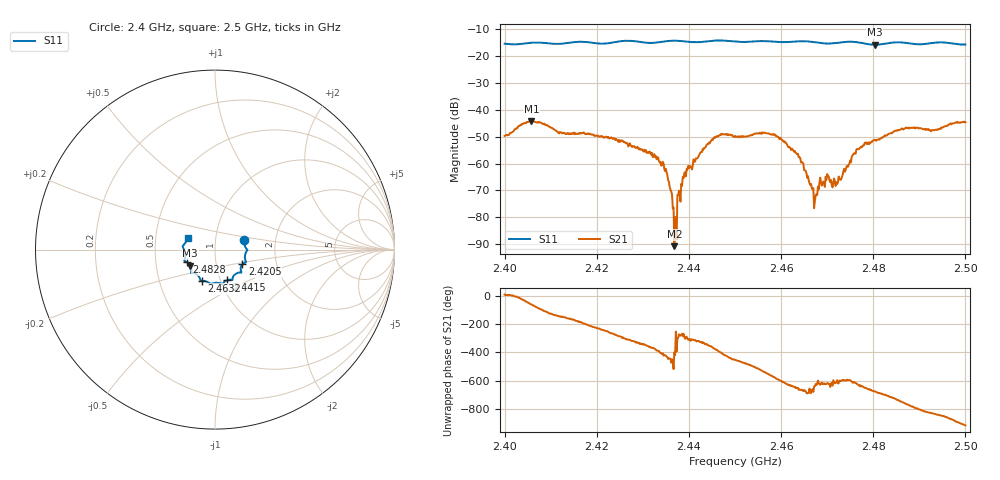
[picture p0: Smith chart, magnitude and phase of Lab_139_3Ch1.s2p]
# Hz S RI R 50
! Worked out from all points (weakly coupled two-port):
!   601 points, 2.4 GHz to 2.5 GHz, reference 50 ohm
!   highest |S21| = -44.07 dB at 2.4058 GHz (marker M1); lowest = -90.8 dB at 2.4368 GHz (marker M2)
!   lowest |S11| = -15.7 dB at 2.4803 GHz (marker M3), VSWR 1.39, Z = 37.4 - j6.85 ohm
!   |S11| at or under -10 dB: start of sweep to end of sweep
!   S12 and S22 are empty: the file has one direction only
!   S11 on the Smith chart (normalised r, x): 2.4 GHz: 1.38, +0.15; 2.4205 GHz: 1.34, -0.23; 2.4415 GHz: 1.07, -0.38; 2.4632 GHz: 0.82, -0.29; 2.4828 GHz: 0.72, -0.10; 2.5 GHz: 0.73, +0.10
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2.4e9  0.1636 0.0517  0.00324 0.000405  0 0  0 0
2.405833e9  0.1787 0.00145  0.00286 -0.00557  0 0  0 0
2.416667e9  0.1728 -0.0699  -0.00364 0.000549  0 0  0 0
2.4205e9  0.1522 -0.0817  -0.00196 0.00253  0 0  0 0
2.433333e9  0.1005 -0.1515  0.0011 -0.000659  0 0  0 0
2.434833e9  0.0974 -0.1628  0.000352 -0.00063  0 0  0 0
2.436833e9  0.0966 -0.1695  2.19e-05 -1.89e-05  0 0  0 0
2.439167e9  0.0871 -0.1677  0.0004 0.000567  0 0  0 0
2.4415e9  0.0654 -0.1706  0.000924 0.000838  0 0  0 0
2.445833e9  0.0415 -0.1921  0.00296 -0.00116  0 0  0 0
2.45e9  0.0245 -0.1865  -0.0002 -0.00328  0 0  0 0
2.4585e9  -0.035 -0.1837  -0.00281 0.00198  0 0  0 0
2.463167e9  -0.0732 -0.1739  0.000637 0.00147  0 0  0 0
2.466667e9  -0.082 -0.167  0.000205 0.000279  0 0  0 0
2.467667e9  -0.0843 -0.1601  4.23e-06 0.000269  0 0  0 0
2.470167e9  -0.1005 -0.1401  -0.000112 0.000584  0 0  0 0
2.472333e9  -0.1216 -0.1309  -8.13e-05 0.000437  0 0  0 0
2.476167e9  -0.1336 -0.1273  -0.00037 0.00148  0 0  0 0
2.480333e9  -0.1378 -0.0893  0.00203 0.00193  0 0  0 0
2.482833e9  -0.1587 -0.07  0.00322 0.000888  0 0  0 0
2.483333e9  -0.1626 -0.0682  0.00351 0.000695  0 0  0 0
2.5e9  -0.1528 0.0647  -0.00568 0.00167  0 0  0 0
